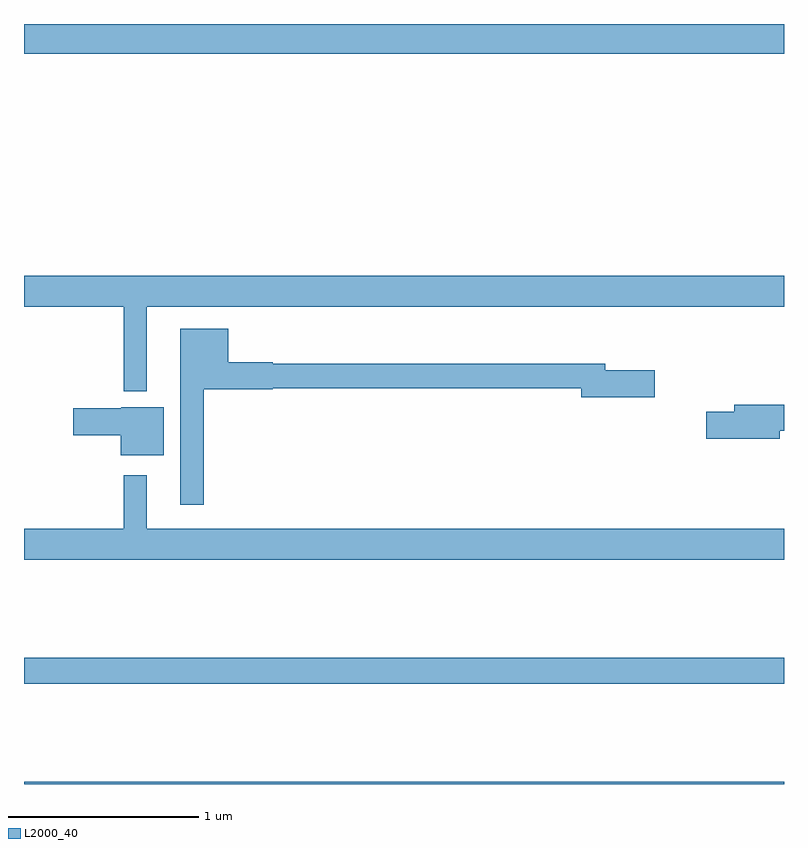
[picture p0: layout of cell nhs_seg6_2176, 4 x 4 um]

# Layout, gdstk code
import gdstk
lib = gdstk.Library(unit=1e-6, precision=1e-09)
def R(c, l, rs):  # rectangles x0, y0, x1, y1
    for r in rs: c.add(gdstk.rectangle(r[:2], r[2:], *l))
def P(c, l, *ps):  # polygons
    for p in ps: c.add(gdstk.Polygon(p, *l))
L2000_40 = (2000, 40)

nhs_seg6_2176 = lib.new_cell('nhs_seg6_2176')
R(nhs_seg6_2176, L2000_40, [(241,935.5,245,935.512), (241,936.028,245,936.164), (241,939.344,245,939.5)])
P(nhs_seg6_2176, L2000_40, [(241.645,938.012),(245,938.012),(245,938.176),(241,938.176),(241,938.012),(241.524,938.012),(241.524,937.568),(241.645,937.568)],
  [(241.945,937.577),(242.31,937.577),(242.31,937.582),(243.932,937.582),(243.932,937.535),(244.321,937.535),(244.321,937.677),(244.06,937.677),(244.06,937.711),(242.31,937.711),(242.31,937.719),(242.074,937.719),(242.074,937.897),(241.823,937.897),(241.823,936.969),(241.945,936.969)],
  [(244.978,937.36),(245,937.36),(245,937.496),(244.739,937.496),(244.739,937.46),(244.59,937.46),(244.59,937.318),(244.978,937.318)],
  [(241.735,937.483),(241.512,937.483),(241.512,937.478),(241.26,937.478),(241.26,937.336),(241.508,937.336),(241.508,937.229),(241.735,937.229)],
  [(245,936.844),(241.645,936.844),(241.645,937.126),(241.524,937.126),(241.524,936.844),(241,936.844),(241,936.68),(245,936.68)])

lib.write_gds('nhs_seg6_2176.gds')
